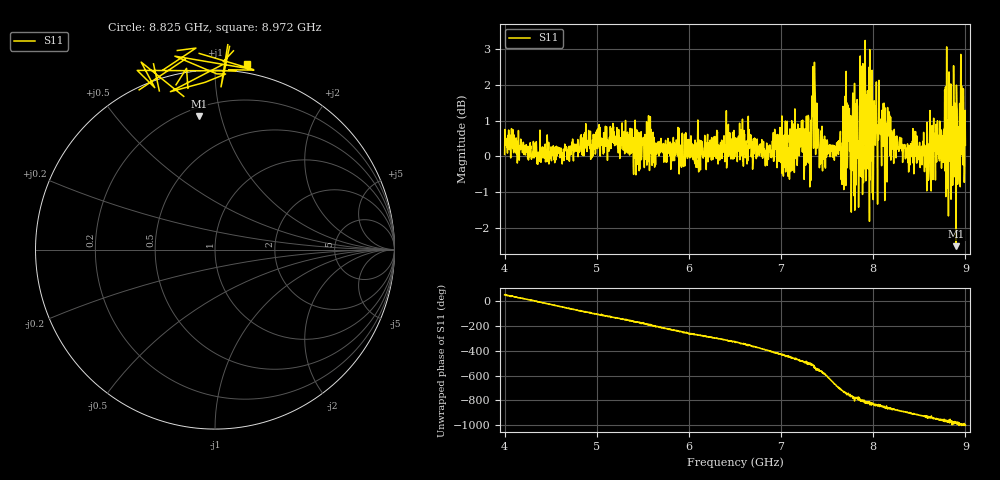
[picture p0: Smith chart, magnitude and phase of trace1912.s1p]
! Created with skrf 1.8.0 (http://scikit-rf.org).
# Hz S RI R 50.0
!freq ReS11 ImS11
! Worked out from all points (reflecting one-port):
!   1601 points, 4 GHz to 9 GHz, reference 50 ohm
!   lowest |S11| = -2.5 dB at 8.9 GHz (marker M1), VSWR 6.97, Z = 12.6 + j42.8 ohm
!   phase of S11 starts at 51 deg and turns -1052 deg over the sweep
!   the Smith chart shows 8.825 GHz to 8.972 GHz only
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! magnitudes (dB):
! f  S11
! 4 GHz  0.1
! 4.625 GHz  -0.2
! 4.897 GHz  0.2
! 5.25 GHz  -0.1
! 5.875 GHz  0.0
! 6.5 GHz  0.5
! 7.125 GHz  0.9
! 7.303 GHz  -0.2
! 7.356 GHz  2.1
! 7.381 GHz  1.5
! 7.4 GHz  0.6
! 7.438 GHz  -0.2
! 7.659 GHz  0.2
! 7.716 GHz  -0.2
! 7.75 GHz  0.6
! 7.788 GHz  0.2
! 7.847 GHz  0.1
! 7.909 GHz  1.0
! 7.928 GHz  1.3
! 7.981 GHz  0.3
! 8.009 GHz  1.6
! 8.156 GHz  1.4
! 8.375 GHz  0.1
! 8.578 GHz  0.0
! 8.816 GHz  -1.7
! 8.9 GHz  -2.5
! 8.959 GHz  2.0
! 9 GHz  0.3
